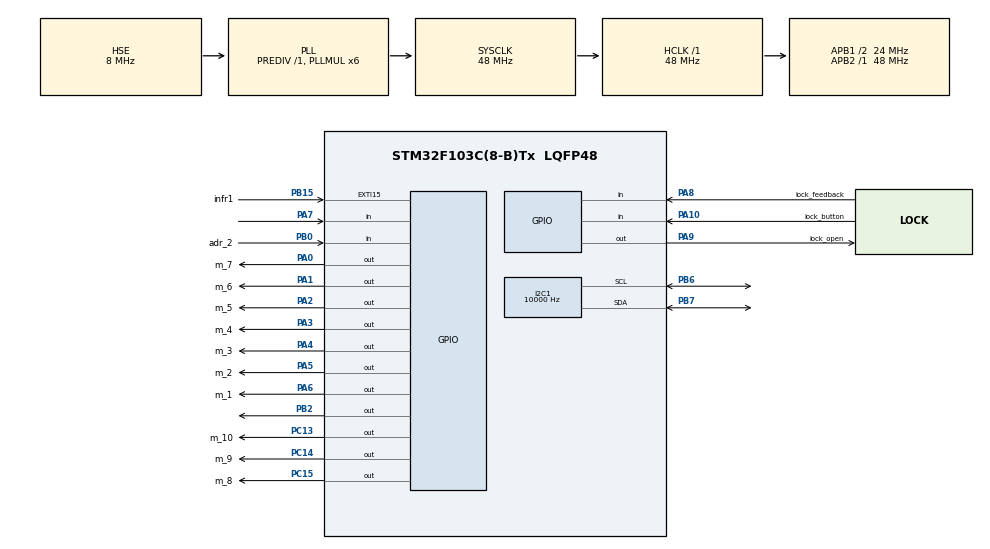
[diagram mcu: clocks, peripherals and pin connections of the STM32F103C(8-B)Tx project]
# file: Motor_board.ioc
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I2C1.ClockSpeed=10000
Mcu.Family=STM32F1
Mcu.Name=STM32F103C(8-B)Tx
Mcu.Package=LQFP48
NVIC.EXTI15_10_IRQn=true\:0\:0\:false\:false\:true\:true\:true\:true
NVIC.I2C1_ER_IRQn=true\:0\:0\:false\:false\:true\:true\:true\:true
NVIC.I2C1_EV_IRQn=true\:0\:0\:false\:false\:true\:true\:true\:true
NVIC.PriorityGroup=NVIC_PRIORITYGROUP_4
PA0-WKUP.GPIO_Label=m_7
PA0-WKUP.Signal=GPIO_Output
PA1.GPIO_Label=m_6
PA1.Signal=GPIO_Output
PA13.Mode=Serial_Wire
PA13.Signal=SYS_JTMS-SWDIO
PA14.Mode=Serial_Wire
PA14.Signal=SYS_JTCK-SWCLK
PA2.GPIO_Label=m_5
PA2.Signal=GPIO_Output
PA3.GPIO_Label=m_4
PA3.Signal=GPIO_Output
PA4.GPIO_Label=m_3
PA4.Signal=GPIO_Output
PA5.GPIO_Label=m_2
PA5.Signal=GPIO_Output
PA6.GPIO_Label=m_1
PA6.Signal=GPIO_Output
PA7.GPIO_PuPd=GPIO_NOPULL
PA7.Signal=GPIO_Input
PA8.GPIO_Label=lock_feedback
PA8.GPIO_PuPd=GPIO_PULLUP
PA8.Signal=GPIO_Input
PA9.GPIO_Label=lock_open
PA9.Signal=GPIO_Output
PA10.GPIO_Label=lock_button
PA10.GPIO_PuPd=GPIO_PULLUP
PA10.Signal=GPIO_Input
PB0.GPIO_Label=adr_2
PB0.GPIO_PuPd=GPIO_PULLDOWN
PB0.Signal=GPIO_Input
PB15.GPIO_Label=infr1
PB15.GPIO_ModeDefaultEXTI=GPIO_MODE_IT_FALLING
PB15.GPIO_PuPd=GPIO_PULLUP
PB15.Signal=GPXTI15
PB2.Signal=GPIO_Output
PB6.Mode=I2C
PB6.Signal=I2C1_SCL
PB7.Mode=I2C
PB7.Signal=I2C1_SDA
PC13-TAMPER-RTC.GPIO_Label=m_10
PC13-TAMPER-RTC.Signal=GPIO_Output
PC14-OSC32_IN.GPIO_Label=m_9
PC14-OSC32_IN.Signal=GPIO_Output
PC15-OSC32_OUT.GPIO_Label=m_8
PC15-OSC32_OUT.Signal=GPIO_Output
PD0-OSC_IN.Mode=HSE-External-Oscillator
PD0-OSC_IN.Signal=RCC_OSC_IN
PD1-OSC_OUT.Mode=HSE-External-Oscillator
PD1-OSC_OUT.Signal=RCC_OSC_OUT
ProjectManager.HeapSize=0x200
ProjectManager.StackSize=0x400
ProjectManager.TargetToolchain=STM32CubeIDE
RCC.AHBFreq_Value=48000000
RCC.APB1CLKDivider=RCC_HCLK_DIV2
RCC.APB1Freq_Value=24000000
RCC.APB1TimFreq_Value=48000000
RCC.APB2Freq_Value=48000000
RCC.APB2TimFreq_Value=48000000
RCC.HCLKFreq_Value=48000000
RCC.PLLMUL=RCC_PLL_MUL6
RCC.PLLSourceVirtual=RCC_PLLSOURCE_HSE
RCC.SYSCLKFreq_VALUE=48000000
RCC.SYSCLKSource=RCC_SYSCLKSOURCE_PLLCLK
RCC.USBFreq_Value=48000000
board=custom

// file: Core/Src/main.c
/* USER CODE BEGIN Header */
/**
 ******************************************************************************
 * @file           : main.c
 * @brief          : Main program body
 ******************************************************************************
 * @attention
 *
 * Copyright (c) 2025 STMicroelectronics.
 * All rights reserved.
 *
 * This software is licensed under terms that can be found in the LICENSE file
 * in the root directory of this software component.
 * If no LICENSE file comes with this software, it is provided AS-IS.
 *
 ******************************************************************************
 */
/* USER CODE END Header */
#include "main.h"

/* USER CODE BEGIN Includes */

#include <stdint.h>
#include "motor_control.h"
#include "motor_journal.h"
#include "../../../common/wire_codec.h"

/* USER CODE END Includes */

I2C_HandleTypeDef hi2c1;

/* USER CODE BEGIN PV */
#define STATUS_IDLE    0x00
#define STATUS_BUSY    0x01
#define STATUS_SUCCESS 0x02
#define STATUS_FAIL    0x03
#define MOTOR_STATUS_PROTOCOL_VERSION 3U
#define MOTOR_STATUS_FRAME_SIZE 28U
#define MOTOR_STATUS_FLAG_OUTPUT_ACTIVE  (1U << 1)
#define MOTOR_STATUS_FLAG_I2C_RECOVERY   (1U << 2)
#define F103_RESET_PIN     (1U << 0)
#define F103_RESET_POWER   (1U << 1)
#define F103_RESET_SOFTWARE (1U << 2)
#define F103_RESET_IWDG    (1U << 3)
#define F103_RESET_WWDG    (1U << 4)
#define F103_RESET_LOW_POWER (1U << 5)
#define F103_IWDG_RELOAD 3750U
#define I2C1_RECOVERY_BACKOFF_MS 100U

static MotorControl motorControl;
static MotorJournal motorJournal;
/* I2C IRQ sees only an atomically published record, never a partial journal struct copy. */
static volatile MotorRecord reportedMotorRecord;
static volatile bool reportedMotorRecordValid;
static volatile bool motorStorageFailed;
static bool recoveredMotorResult;
static uint32_t motorJournalRetryTick;
static volatile uint32_t pendingMotorBoot, pendingMotorOperation, pendingDirectOperation;
static volatile uint8_t pendingMotorCommand;
static volatile uint8_t pendingMotorLine, pendingMotorTurns;
static volatile uint8_t pendingSensorEvent;
static volatile uint32_t pendingFinishBoot, pendingFinishOperation;
static volatile uint8_t pendingFinishLine, pendingFinishStatus;
static void AllMotorsOff(void);
static volatile uint32_t maintenanceRebootToken, maintenanceRebootAt, maintenanceExpiredToken;
static volatile uint8_t maintenanceQuery;
static uint32_t maintenanceCompletedToken;
static void MaintenanceBootInit(void) {
    __HAL_RCC_PWR_CLK_ENABLE(); __HAL_RCC_BKP_CLK_ENABLE();
    HAL_PWR_EnableBkUpAccess();
    if (BKP->DR3 == 0xA610U) { BKP->DR3 = 0xA611U; }
    if (BKP->DR3 == 0xA611U)
        maintenanceCompletedToken = (uint32_t)BKP->DR1 | ((uint32_t)BKP->DR2 << 16);
}
static void MaintenanceRebootService(void) {
    uint32_t mask = __get_PRIMASK(); __disable_irq();
    uint32_t token = maintenanceRebootToken;
    if (!token) {__set_PRIMASK(mask); return;}
    if ((uint32_t)(HAL_GetTick() - maintenanceRebootAt) >= 15000U) {
        maintenanceExpiredToken = token; maintenanceRebootToken = 0U; __set_PRIMASK(mask); return;
    }
    if (motorControl.status == MOTOR_BUSY || pendingMotorCommand) {__set_PRIMASK(mask); return;}
    AllMotorsOff();
    /* Lock is owned by F411 on Varka. */
    BKP->DR3 = 0U;
    BKP->DR1 = token & 0xFFFFU; BKP->DR2 = token >> 16;
    __DMB(); BKP->DR3 = 0xA610U; __DSB();
    NVIC_SystemReset();
}
uint8_t rxBuffer[20];
uint8_t tx_status_frame[MOTOR_STATUS_FRAME_SIZE];
volatile uint8_t reset_flags = 0;

// Массивы пинов
GPIO_TypeDef* motors_port[] = { m_1_GPIO_Port, m_2_GPIO_Port, m_3_GPIO_Port, m_4_GPIO_Port, m_5_GPIO_Port, m_6_GPIO_Port, m_7_GPIO_Port, m_8_GPIO_Port, m_9_GPIO_Port, m_10_GPIO_Port };
const uint16_t motors_pin[] = { m_1_Pin, m_2_Pin, m_3_Pin, m_4_Pin, m_5_Pin, m_6_Pin, m_7_Pin, m_8_Pin, m_9_Pin, m_10_Pin };
volatile uint8_t i2c_reinit_pending = 0;
volatile uint32_t i2c_error_count = 0;
volatile uint32_t i2c_last_error = 0;
/* HAL_I2C_MspInit normally enables the IRQs. Runtime recovery keeps them
 * isolated until the handle, peripheral and listen mode are all coherent. */
volatile uint8_t i2c1_runtime_recovery_guard = 0;
static uint32_t i2c1_next_recovery_tick = 0;
static uint32_t i2c1_recovery_count = 0;
/* Completion is real wire progress; peripheral reinitialisation alone is not. */
#define F103_TRANSPORT_STUCK_MS 2000U
#define F103_RECOVERY_LIMIT_MS 55000U
static volatile uint32_t i2c1_completed_transfers;
static uint32_t i2c1_observed_transfers, i2c1_fault_since, i2c1_busy_since;
static uint8_t i2c1_fault_armed, i2c1_busy_armed;
/* USER CODE END PV */

void SystemClock_Config(void);
static void MX_GPIO_Init(void);
static void MX_I2C1_Init(void);

/* USER CODE BEGIN 0 */

static void AllMotorsOff(void)
{
    for (uint8_t i = 0; i < 10; i++) {
        HAL_GPIO_WritePin(motors_port[i], motors_pin[i], GPIO_PIN_RESET);
    }
}

static uint32_t MotorStorageAddress(unsigned page, uint32_t word) {
    return 0x0800F800U + page * 1024U + word * 4U;
}
static uint32_t MotorStorageRead(unsigned page, uint32_t word) {
    return *(volatile const uint32_t *)MotorStorageAddress(page, word);
}
static bool MotorStorageProgram(unsigned page, uint32_t word, uint32_t value) {
    return HAL_FLASH_Program(FLASH_TYPEPROGRAM_WORD, MotorStorageAddress(page, word), value) ==
           HAL_OK;
}
static bool MotorStorageErase(unsigned page) {
    FLASH_EraseInitTypeDef erase = {0};
    uint32_t error = 0;
    erase.TypeErase = FLASH_TYPEERASE_PAGES;
    erase.PageAddress = MotorStorageAddress(page, 0);
    erase.NbPages = 1;
    return HAL_FLASHEx_Erase(&erase, &error) == HAL_OK;
}
static void PublishMotorRecord(void) {
    uint32_t mask = __get_PRIMASK();
    __disable_irq();
    reportedMotorRecord = motorJournal.record;
    reportedMotorRecordValid = motorJournal.valid;
    __set_PRIMASK(mask);
}
static bool PersistMotorRecord(const MotorRecord *record) {
    bool ok = false;
    if (HAL_FLASH_Unlock() == HAL_OK) {
        ok = MotorJournalSave(&motorJournal, record);
    }
    HAL_FLASH_Lock();
    motorStorageFailed = !ok || motorJournal.corruptCommitted;
    if (ok)
        PublishMotorRecord();
    return ok;
}
static void RestoreMotorJournal(void) {
    const MotorJournalStorage storage = {32U, MotorStorageRead, MotorStorageProgram,
                                         MotorStorageErase};
    MotorJournalLoad(&motorJournal, &storage);
    PublishMotorRecord();
    motorStorageFailed = motorJournal.corruptCommitted;
    if (motorJournal.valid) {
        motorControl.line = motorJournal.record.line;
        motorControl.turns = motorJournal.record.turns;
        motorControl.counter = motorJournal.record.counter;
        recoveredMotorResult =
            motorJournal.record.recovered || motorJournal.record.status == MOTOR_BUSY;
        motorControl.status =
            motorJournal.record.status == MOTOR_BUSY ? MOTOR_FAILED : motorJournal.record.status;
        /* An interrupted operation is never resumed or started again. */
    }
}
static void CommitMotorOutputs(void) {
    for (uint8_t i = 0; i < 10; i++) {
        bool on = motorControl.outputActive && motorControl.line >= 1 && motorControl.line <= 10 &&
                  i == motorControl.line - 1U;
        HAL_GPIO_WritePin(motors_port[i], motors_pin[i], on ? GPIO_PIN_SET : GPIO_PIN_RESET);
    }
}
static void MotorService(void) {
    uint32_t mask = __get_PRIMASK();
    __disable_irq();
    uint32_t now = HAL_GetTick();
    bool blocked = false; /* Sensor is owned by F411. */
    bool sensorEvent = pendingSensorEvent != 0U;
    bool finishMatches = pendingFinishBoot == motorJournal.record.bootIdentity &&
        pendingFinishOperation == motorJournal.record.operationId &&
        pendingFinishLine == motorControl.line && motorJournal.valid;
    pendingSensorEvent = 0;
    MotorControlStep(&motorControl, now, false, 0, false);
    if (sensorEvent && finishMatches && motorControl.status == MOTOR_BUSY) {
        motorControl.status = pendingFinishStatus;
        motorControl.phase = 0; motorControl.outputActive = false;
    }
    CommitMotorOutputs(); // terminal outputs are off before any flash operation
    uint8_t hasCommand = pendingMotorCommand, line = pendingMotorLine, turns = pendingMotorTurns;
    uint32_t boot = pendingMotorBoot, operation = pendingMotorOperation;
    uint32_t directOperation = pendingDirectOperation;
    pendingMotorCommand = 0;
    __set_PRIMASK(mask);

    if (motorJournal.valid && motorJournal.record.status != motorControl.status &&
        (int32_t)(now - motorJournalRetryTick) >= 0) {
        MotorRecord result = motorJournal.record;
        result.status = motorControl.status;
        result.recovered = recoveredMotorResult;
        (void)PersistMotorRecord(&result);
        motorJournalRetryTick = HAL_GetTick() + 250U;
    }
    if (!hasCommand || motorStorageFailed || motorControl.status == MOTOR_BUSY ||
        !MotorJournalIsNewOperation(&motorJournal, boot, operation) ||
        (directOperation != 0 && motorJournal.valid &&
         directOperation <= motorJournal.record.directOperationId)) {
        return;
    }

    MotorControl proposed = motorControl;
    if (MotorControlStart(&proposed, line, turns, HAL_GetTick(), blocked) !=
        MOTOR_COMMAND_ACCEPTED) {
        return;
    }
    MotorRecord accepted = {.bootIdentity = boot,
                            .operationId = operation,
                            .line = line,
                            .turns = turns,
                            .counter = proposed.counter,
                            .status = MOTOR_BUSY,
                            .recovered = false};
    accepted.directOperationId =
        directOperation ? directOperation
                        : (motorJournal.valid ? motorJournal.record.directOperationId : 0);
    accepted.isDirect = directOperation != 0;
    if (!PersistMotorRecord(&accepted)) {
        return; // no GPIO without durable acceptance
    }
    mask = __get_PRIMASK();
    __disable_irq();
    proposed.startedAt = HAL_GetTick();
    proposed.phaseStartedAt = proposed.startedAt;
    motorControl = proposed;
    recoveredMotorResult = false;
    CommitMotorOutputs();
    __set_PRIMASK(mask);
}

static HAL_StatusTypeDef I2C1_ReinitDeferred(void)
{
    HAL_StatusTypeDef status;

    i2c1_runtime_recovery_guard = 1U;
    HAL_NVIC_DisableIRQ(I2C1_EV_IRQn);
    HAL_NVIC_DisableIRQ(I2C1_ER_IRQn);
    HAL_NVIC_ClearPendingIRQ(I2C1_EV_IRQn);
    HAL_NVIC_ClearPendingIRQ(I2C1_ER_IRQn);
    __HAL_I2C_DISABLE_IT(&hi2c1, I2C_IT_EVT | I2C_IT_BUF | I2C_IT_ERR);

    status = HAL_I2C_DeInit(&hi2c1);
    if (status == HAL_OK) {
        hi2c1.State = HAL_I2C_STATE_RESET;
        status = HAL_I2C_Init(&hi2c1);
    }
    if (status == HAL_OK) {
        status = HAL_I2C_EnableListen_IT(&hi2c1);
    }

    HAL_NVIC_ClearPendingIRQ(I2C1_EV_IRQn);
    HAL_NVIC_ClearPendingIRQ(I2C1_ER_IRQn);
    i2c1_runtime_recovery_guard = 0U;
    if (status == HAL_OK) {
        HAL_NVIC_EnableIRQ(I2C1_EV_IRQn);
        HAL_NVIC_EnableIRQ(I2C1_ER_IRQn);
        i2c1_recovery_count++;
        i2c1_next_recovery_tick = 0U;
    }

    return status;
}

static void ServiceMotorRecovery(void)
{
    const uint32_t now = HAL_GetTick();
    const uint32_t completed = i2c1_completed_transfers;
    const HAL_I2C_StateTypeDef state = HAL_I2C_GetState(&hi2c1);
    if (completed != i2c1_observed_transfers) {
        i2c1_observed_transfers = completed;
        i2c1_fault_armed = 0U;
        i2c1_busy_armed = 0U;
    }
    if (state != HAL_I2C_STATE_READY && state != HAL_I2C_STATE_LISTEN) {
        if (!i2c1_busy_armed) {
            i2c1_busy_since = now;
            i2c1_busy_armed = 1U;
        }
        if ((uint32_t)(now - i2c1_busy_since) >= F103_TRANSPORT_STUCK_MS) {
            i2c_reinit_pending = 1U;
        }
    } else {
        i2c1_busy_armed = 0U;
    }
    if (i2c_reinit_pending && !i2c1_fault_armed) {
        i2c1_fault_since = now;
        i2c1_fault_armed = 1U;
    }
    if (i2c1_fault_armed &&
            (uint32_t)(now - i2c1_fault_since) >= F103_RECOVERY_LIMIT_MS) {
        /* Do not clear the operation journal: restore converts BUSY to FAILED,
         * retaining its identity, so retrying the old START cannot vend twice. */
        __disable_irq();
        AllMotorsOff();
        /* Lock belongs to F411 on this hardware; only motor outputs are local. */
        NVIC_SystemReset();
    }
}

static void EnsureI2C1Listening(void);

static void ServiceI2C1Transport(void)
{
    uint32_t now = HAL_GetTick();

    if (i2c_reinit_pending != 0U) {
        if ((int32_t)(now - i2c1_next_recovery_tick) < 0) {
            return;
        }

        /* ErrorCallback can leave HAL in LISTEN while the HAL disables EVT/ERR
         * after returning from that callback. Do not wait for READY here. */
        HAL_NVIC_DisableIRQ(I2C1_EV_IRQn);
        HAL_NVIC_DisableIRQ(I2C1_ER_IRQn);
        i2c_reinit_pending = 0U;
        if (I2C1_ReinitDeferred() != HAL_OK) {
            i2c_reinit_pending = 1U;
            i2c1_next_recovery_tick = HAL_GetTick() + I2C1_RECOVERY_BACKOFF_MS;
        }
        return;
    }

    EnsureI2C1Listening();
}

static void EnsureI2C1Listening(void)
{
    /* Never change HAL state from a transfer callback. The main loop repairs the
     * short READY gap immediately after HAL has completed the transaction. */
    if (HAL_I2C_GetState(&hi2c1) == HAL_I2C_STATE_READY &&
        HAL_I2C_EnableListen_IT(&hi2c1) != HAL_OK) {
        i2c_reinit_pending = 1U;
    }
}

static void CaptureResetFlags(void)
{
    uint32_t csr = RCC->CSR;

    if ((csr & RCC_CSR_PINRSTF) != 0U) reset_flags |= F103_RESET_PIN;
    if ((csr & RCC_CSR_PORRSTF) != 0U) reset_flags |= F103_RESET_POWER;
    if ((csr & RCC_CSR_SFTRSTF) != 0U) reset_flags |= F103_RESET_SOFTWARE;
    if ((csr & RCC_CSR_IWDGRSTF) != 0U) reset_flags |= F103_RESET_IWDG;
    if ((csr & RCC_CSR_WWDGRSTF) != 0U) reset_flags |= F103_RESET_WWDG;
    if ((csr & RCC_CSR_LPWRRSTF) != 0U) reset_flags |= F103_RESET_LOW_POWER;
    RCC->CSR |= RCC_CSR_RMVF;
}

static void MotorWatchdogInit(void)
{
    IWDG->KR = 0xCCCCU;
    IWDG->KR = 0x5555U;
    IWDG->PR = 4U; /* LSI / 64. */
    IWDG->RLR = F103_IWDG_RELOAD;
    while (IWDG->SR != 0U) {
    }
    IWDG->KR = 0xAAAAU;
}

static void MotorWatchdogRefresh(void)
{
    IWDG->KR = 0xAAAAU;
}

static void BuildMotorStatusFrame(void) {
    uint8_t flags = 0U;
    uint32_t error_count = i2c_error_count;
    uint32_t last_error = i2c_last_error;

    uint8_t current_motor_idx = motorControl.line >= 1U && motorControl.line <= 10U
                                    ? (uint8_t)(motorControl.line - 1U)
                                    : 10U;
    if (current_motor_idx < 10U &&
        HAL_GPIO_ReadPin(motors_port[current_motor_idx], motors_pin[current_motor_idx]) ==
            GPIO_PIN_SET) {
        flags |= MOTOR_STATUS_FLAG_OUTPUT_ACTIVE;
    }
    if (i2c_reinit_pending != 0U) {
        flags |= MOTOR_STATUS_FLAG_I2C_RECOVERY;
    }

    if (recoveredMotorResult)
        flags |= (1U << 3);
    if (motorStorageFailed)
        flags |= (1U << 4);
    /* Do not expose terminal success before it is committed to flash. */
    tx_status_frame[0] = reportedMotorRecordValid ? reportedMotorRecord.status : MOTOR_IDLE;
    tx_status_frame[1] = MOTOR_STATUS_PROTOCOL_VERSION;
    tx_status_frame[2] = motorControl.counter;
    tx_status_frame[3] = motorControl.line;
    tx_status_frame[4] = motorControl.phase;
    tx_status_frame[5] = flags;
    tx_status_frame[6] = reset_flags;
    tx_status_frame[7] = (uint8_t)(error_count & 0xFFU);
    tx_status_frame[8] = (uint8_t)((error_count >> 8U) & 0xFFU);
    tx_status_frame[9] = (uint8_t)(last_error & 0xFFU);
    tx_status_frame[10] = (uint8_t)((last_error >> 8U) & 0xFFU);
    tx_status_frame[11] = motorControl.turns;
    WireWrite32(tx_status_frame + 12,
                reportedMotorRecordValid ? reportedMotorRecord.bootIdentity : 0);
    WireWrite32(tx_status_frame + 16,
                reportedMotorRecordValid ? reportedMotorRecord.operationId : 0);
    WireWrite32(tx_status_frame + 20, reportedMotorRecordValid && reportedMotorRecord.isDirect
                                          ? reportedMotorRecord.directOperationId
                                          : 0);
    WireWrite32(tx_status_frame + 24, WireCrc32(tx_status_frame, 24));
}

/* USER CODE END 0 */

int main(void)
{

  /* MCU Configuration--------------------------------------------------------*/

  /* Reset of all peripherals, Initializes the Flash interface and the Systick. */
  HAL_Init();

  /* USER CODE BEGIN Init */

  CaptureResetFlags();

  /* USER CODE END Init */

  /* Configure the system clock */
  SystemClock_Config();

  /* Initialize all configured peripherals */
  MX_GPIO_Init();
  MX_I2C1_Init();
  /* USER CODE BEGIN 2 */

  MaintenanceBootInit();
  MotorControlInit(&motorControl);
  AllMotorsOff();
  RestoreMotorJournal();
  MotorWatchdogInit();

  /* USER CODE END 2 */

  /* Infinite loop */
  /* USER CODE BEGIN WHILE */
  while (1) {
	  MotorWatchdogRefresh();

      MotorService();
      MaintenanceRebootService();
      ServiceMotorRecovery();

	  ServiceI2C1Transport();

    /* USER CODE END WHILE */

	}
}

void SystemClock_Config(void)
{
  RCC_OscInitTypeDef RCC_OscInitStruct = {0};
  RCC_ClkInitTypeDef RCC_ClkInitStruct = {0};

  /** Initializes the RCC Oscillators according to the specified parameters
  * in the RCC_OscInitTypeDef structure.
  */
  RCC_OscInitStruct.OscillatorType = RCC_OSCILLATORTYPE_HSE;
  RCC_OscInitStruct.HSEState = RCC_HSE_ON;
  RCC_OscInitStruct.HSEPredivValue = RCC_HSE_PREDIV_DIV1;
  RCC_OscInitStruct.HSIState = RCC_HSI_ON;
  RCC_OscInitStruct.PLL.PLLState = RCC_PLL_ON;
  RCC_OscInitStruct.PLL.PLLSource = RCC_PLLSOURCE_HSE;
  RCC_OscInitStruct.PLL.PLLMUL = RCC_PLL_MUL6;
  if (HAL_RCC_OscConfig(&RCC_OscInitStruct) != HAL_OK)
  {
    Error_Handler();
  }

  /** Initializes the CPU, AHB and APB buses clocks
  */
  RCC_ClkInitStruct.ClockType = RCC_CLOCKTYPE_HCLK|RCC_CLOCKTYPE_SYSCLK
                              |RCC_CLOCKTYPE_PCLK1|RCC_CLOCKTYPE_PCLK2;
  RCC_ClkInitStruct.SYSCLKSource = RCC_SYSCLKSOURCE_PLLCLK;
  RCC_ClkInitStruct.AHBCLKDivider = RCC_SYSCLK_DIV1;
  RCC_ClkInitStruct.APB1CLKDivider = RCC_HCLK_DIV2;
  RCC_ClkInitStruct.APB2CLKDivider = RCC_HCLK_DIV1;

  if (HAL_RCC_ClockConfig(&RCC_ClkInitStruct, FLASH_LATENCY_1) != HAL_OK)
  {
    Error_Handler();
  }
}

static void MX_I2C1_Init(void)
{

  hi2c1.Instance = I2C1;
  hi2c1.Init.ClockSpeed = 10000;
  hi2c1.Init.DutyCycle = I2C_DUTYCYCLE_2;
  hi2c1.Init.OwnAddress1 = 0;
  hi2c1.Init.AddressingMode = I2C_ADDRESSINGMODE_7BIT;
  hi2c1.Init.DualAddressMode = I2C_DUALADDRESS_DISABLE;
  hi2c1.Init.OwnAddress2 = 0;
  hi2c1.Init.GeneralCallMode = I2C_GENERALCALL_DISABLE;
  hi2c1.Init.NoStretchMode = I2C_NOSTRETCH_DISABLE;
  if (HAL_I2C_Init(&hi2c1) != HAL_OK)
  {
    Error_Handler();
  }
  /* USER CODE BEGIN I2C1_Init 2 */

  // --- ФИКСИРОВАННЫЙ АДРЕС I2C ---
  // Мы жестко задаем адрес 0x0F (десятичный 15).
  // HAL требует сдвига адреса влево на 1 бит.

  hi2c1.Init.OwnAddress1 = (0x0F << 1);

  // Переинициализируем I2C с новым адресом
  if (HAL_I2C_Init(&hi2c1) != HAL_OK) {
      Error_Handler();
  }

  // Включаем прослушивание шины (Listen Mode) - ОБЯЗАТЕЛЬНО для слейва
  if(HAL_I2C_EnableListen_IT(&hi2c1) != HAL_OK)
  {
      Error_Handler();
  }

  /* USER CODE END I2C1_Init 2 */

}

static void MX_GPIO_Init(void)
{
    GPIO_InitTypeDef gpio = {0};
    __HAL_RCC_GPIOA_CLK_ENABLE(); __HAL_RCC_GPIOB_CLK_ENABLE();
    __HAL_RCC_GPIOC_CLK_ENABLE(); __HAL_RCC_GPIOD_CLK_ENABLE();
    gpio.Mode = GPIO_MODE_OUTPUT_PP; gpio.Pull = GPIO_NOPULL;
    gpio.Speed = GPIO_SPEED_FREQ_LOW;
    for (uint8_t i = 0; i < 10; ++i) {
        HAL_GPIO_WritePin(motors_port[i], motors_pin[i], GPIO_PIN_RESET);
        gpio.Pin = motors_pin[i]; HAL_GPIO_Init(motors_port[i], &gpio);
    }
}

// 2. I2C: Мастер обратился к нам по адресу
void HAL_I2C_AddrCallback(I2C_HandleTypeDef *hi2c, uint8_t TransferDirection, uint16_t AddrMatchCode)
{
    if (hi2c->Instance == I2C1)
    {
        if (TransferDirection == I2C_DIRECTION_TRANSMIT)
        {
            // Мастер хочет записать полную команду v2.
            if (HAL_I2C_Slave_Seq_Receive_IT(hi2c, rxBuffer, sizeof(rxBuffer),
                                             I2C_FIRST_AND_LAST_FRAME) != HAL_OK) {
                i2c_reinit_pending = 1U;
            }
        }
        else
        {
            // Мастер запрашивает атомарный диагностический snapshot.
            BuildMotorStatusFrame();
            if (maintenanceQuery) {
                maintenanceQuery = 0U;
                memset(tx_status_frame, 0, MOTOR_STATUS_FRAME_SIZE);
                tx_status_frame[0] = 0xB6U; tx_status_frame[1] = 1U;
                WireWrite32(tx_status_frame + 4, maintenanceCompletedToken);
                WireWrite32(tx_status_frame + 24, WireCrc32(tx_status_frame, 24));
            }
            if (HAL_I2C_Slave_Seq_Transmit_IT(hi2c, tx_status_frame,
                                              MOTOR_STATUS_FRAME_SIZE,
                                              I2C_FIRST_AND_LAST_FRAME) != HAL_OK) {
                i2c_reinit_pending = 1U;
            }
        }
    }
}

// 3. I2C: full v3 command received; validate integrity before publishing to main.
void HAL_I2C_SlaveRxCpltCallback(I2C_HandleTypeDef *hi2c) {
    if(hi2c->Instance==I2C1)++i2c1_completed_transfers;
    if (hi2c->Instance == I2C1 && rxBuffer[0] == 0xA6U && rxBuffer[1] == 1U) {
        if (WireRead32(rxBuffer + 16) != WireCrc32(rxBuffer, 16)) return;
        uint32_t token = WireRead32(rxBuffer + 4);
        if (rxBuffer[2] == 2U) maintenanceQuery = 1U;
        else if (rxBuffer[2] == 3U && token && maintenanceRebootToken == token) {
            maintenanceExpiredToken = token; maintenanceRebootToken = 0U;
        }
        else if (rxBuffer[2] == 1U && token && token != maintenanceCompletedToken
                 && token != maintenanceExpiredToken
                 && (!maintenanceRebootToken || maintenanceRebootToken == token))
        {
            if (!maintenanceRebootToken) maintenanceRebootAt = HAL_GetTick();
            maintenanceRebootToken = token;
        }
        return;
    }
    if (maintenanceRebootToken) return;
    if (hi2c->Instance != I2C1 || rxBuffer[1] != MOTOR_STATUS_PROTOCOL_VERSION ||
        WireRead32(rxBuffer + 16) != WireCrc32(rxBuffer, 16)) return;
    if (rxBuffer[0] == 0xA6U && !pendingSensorEvent &&
        (rxBuffer[3] == MOTOR_SUCCESS || rxBuffer[3] == MOTOR_FAILED)) {
        /* Completion cannot start a motor. Main validates the entire active key. */
        pendingFinishBoot = WireRead32(rxBuffer + 4);
        pendingFinishOperation = WireRead32(rxBuffer + 8);
        pendingFinishLine = rxBuffer[2];
        pendingFinishStatus = rxBuffer[3];
        pendingSensorEvent = 1U;
    } else if (rxBuffer[0] == 0xA5U && !pendingMotorCommand && motorControl.status != MOTOR_BUSY) {
        pendingMotorLine = rxBuffer[2]; pendingMotorTurns = rxBuffer[3];
        pendingMotorBoot = WireRead32(rxBuffer + 4);
        pendingMotorOperation = WireRead32(rxBuffer + 8);
        pendingDirectOperation = WireRead32(rxBuffer + 12);
        pendingMotorCommand = 1U;
    }
}

void HAL_I2C_SlaveTxCpltCallback(I2C_HandleTypeDef *hi2c)
{
    if (hi2c->Instance == I2C1) {
        i2c1_completed_transfers++;
    }
}

void HAL_I2C_ListenCpltCallback(I2C_HandleTypeDef *hi2c)
{
    if (hi2c->Instance == I2C1)
    {
        if (HAL_I2C_EnableListen_IT(hi2c) != HAL_OK) {
            i2c_reinit_pending = 1;
        }
    }
}

// 5. Обработка ошибок I2C шины
void HAL_I2C_ErrorCallback(I2C_HandleTypeDef *hi2c)
{
    if (hi2c->Instance == I2C1)
    {
        i2c_last_error = HAL_I2C_GetError(hi2c);
        i2c_error_count++;
        i2c_reinit_pending = 1;
    }
}

/* USER CODE END 4 */

void Error_Handler(void)
{
	__disable_irq();
	while (1) {
	}
}
